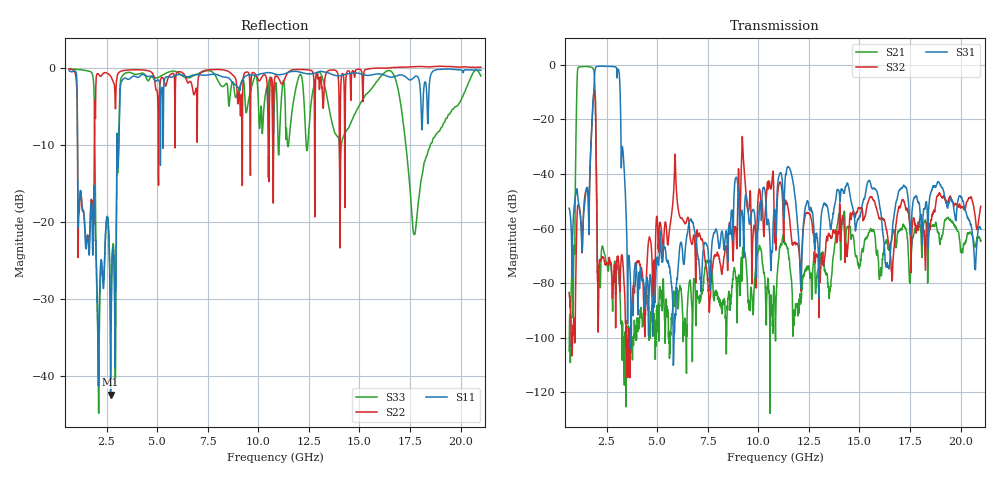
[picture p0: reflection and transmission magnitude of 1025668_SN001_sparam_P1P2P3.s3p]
!Keysight Technologies,N5227B,US58420583,A.13.95.07
!Date: Wednesday, April 06, 2022 15:13:18
!Correction: S11(Full 3 Port(1,2,3))
!S12(Full 3 Port(1,2,3))
!S13(Full 3 Port(1,2,3))
!S21(Full 3 Port(1,2,3))
!S22(Full 3 Port(1,2,3))
!S23(Full 3 Port(1,2,3))
!S31(Full 3 Port(1,2,3))
!S32(Full 3 Port(1,2,3))
!S33(Full 3 Port(1,2,3))
!S3P File: Measurements:
!<S11,S12,S13>,
!<S21,S22,S23>,
!<S31,S32,S33>:
# Hz S  dB  R 50
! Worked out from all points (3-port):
!   2036 points, 650 MHz to 21 GHz, reference 50 ohm
!   strongest paths, dB at 650 MHz, 5.74 GHz, 10.83 GHz, 15.92 GHz, 21 GHz:
!     S31: -52.5, -83.3, -54.5, -48.1, -60.2
!     S32: -83.4, -53.2, -62.5, -54.7, -51.8
!     S21: -104.7, -93.3, -92.5, -71.0, -64.6
!   lowest |S11| = -42.4 dB at 2.7 GHz (marker M1), VSWR 1.02, Z = 49.3 + j0.336 ohm
!   |S11| at or under -10 dB: 1.07 GHz to 3.015 GHz (1.945 GHz wide, 95.3 % of centre); 3.029 GHz to 3.105 GHz (75.88 MHz wide, 2.47 % of centre); 5.156354 GHz to 5.166206 GHz (9.852 MHz wide, 0.191 % of centre)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
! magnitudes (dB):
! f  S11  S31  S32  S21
! 650 MHz  -0.3  -52.5  -83.4  -104.7
! 1.19 GHz  -16.1  -54.4  -53.6  -0.8
! 1.87 GHz  -16.0  -10.0  -10.1  -2.1
! 2.13 GHz  -33.5  -0.5  -73.8  -73.9
! 2.7 GHz  -42.4  -0.6  -72.4  -73.3
! 3.76 GHz  -1.1  -87.3  -87.5  -103.1
! 5.88 GHz  -0.9  -91.2  -32.7  -88.2
! 7.57 GHz  -0.8  -75.1  -89.4  -71.8
! 10.83 GHz  -0.7  -54.5  -62.5  -92.5
! 21 GHz  -0.2  -60.2  -51.8  -64.6
